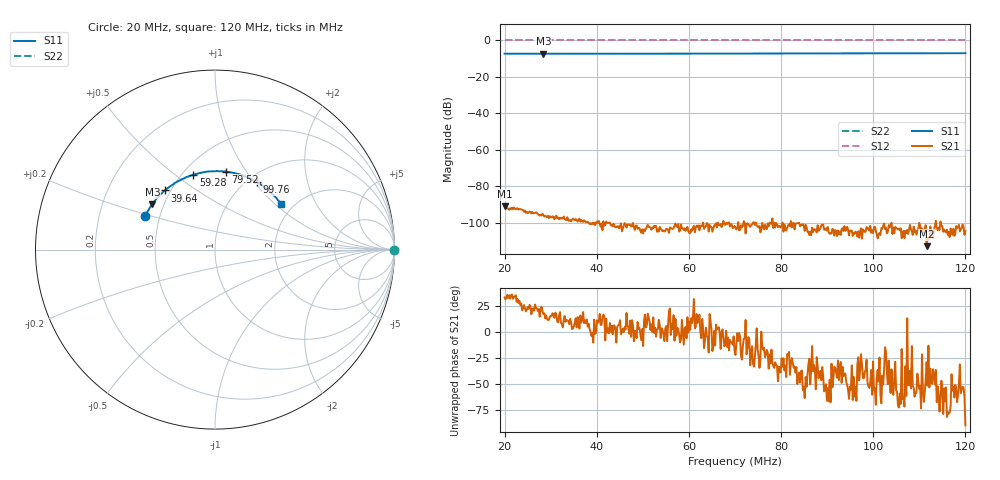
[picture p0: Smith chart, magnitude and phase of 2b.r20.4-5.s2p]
! Anritsu VNA Master:  Model: MS2036C/10/77
! SN:  1601066
! /card0/usr/18may27.balun/252b.r2..3.s2p
! Existing Calibration Information:
! TYPE:  Current Settings,  Active Cal Settings
! TIME:  05/27/2018 01:01:02 PM,  05/27/2018 12:49:51 PM
! INTERNAL TEMP:  52.3 C,  52.5 C
! # POINTS:  500,  500
! START FREQ:  20.000 MHz,  20.000 MHz
! STOP FREQ:  120.000 MHz,  120.000 MHz
! SOURCE POWER:  High,  High
! IFBW:  50 Hz,  50 Hz
! AVG FACTOR:  1 ,  1
! REF PLANE 1:  0 mm,  0 mm
! REF PLANE 2:  0 mm,  0 mm
! CAL TYPE:  Full S11,  Full S11
! CAL METHOD:  SOLT,  SOLT
! CAL LINE TYPE:  Coax,  Coax
! DUT PORT 1:  K-Conn(M),  K-Conn(M)
! DUT PORT 2:  K-Conn(M),  K-Conn(M)
! CAL STATUS:  OK: Accuracy High,  --
# GHZ S DB R 50.0
! FREQ.GHZ  S11DB  S11A  S21DB  S21A  S12DB  S12A  S22DB  S22A
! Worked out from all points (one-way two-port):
!   500 points, 20 MHz to 120 MHz, reference 50 ohm
!   highest |S21| = -91.05 dB at 20 MHz (marker M1); lowest = -113.0 dB at 111.6 MHz (marker M2)
!   lowest |S11| = -7.3 dB at 28.42 MHz (marker M3), VSWR 2.51, Z = 21.6 + j13.4 ohm
!   |S11| at or under -10 dB: nowhere
!   |S22| runs from 0.0 to 0.0 dB; largest |S21 - S12| = 1
!   S11 on the Smith chart (normalised r, x): 20 MHz: 0.41, +0.19; 39.64 MHz: 0.47, +0.38; 59.28 MHz: 0.57, +0.58; 79.52 MHz: 0.75, +0.81; 99.76 MHz: 1.10, +1.03; 120 MHz: 1.72, +1.10
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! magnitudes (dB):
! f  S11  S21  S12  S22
! 20 MHz  -7.3  -91.1  0.0  0.0
! 26.81 MHz  -7.3  -94.4  0.0  0.0
! 28.42 MHz  -7.3  -95.7  0.0  0.0
! 32.63 MHz  -7.3  -97.8  0.0  0.0
! 34.43 MHz  -7.3  -99.3  0.0  0.0
! 35.63 MHz  -7.3  -98.6  0.0  0.0
! 36.83 MHz  -7.3  -99.4  0.0  0.0
! 38.24 MHz  -7.3  -100.2  0.0  0.0
! 39.64 MHz  -7.3  -101.4  0.0  0.0
! 41.04 MHz  -7.3  -100.6  0.0  0.0
! 45.25 MHz  -7.3  -100.4  0.0  0.0
! 46.65 MHz  -7.3  -101.1  0.0  0.0
! 50.46 MHz  -7.3  -104.6  0.0  0.0
! 53.47 MHz  -7.3  -104.9  0.0  0.0
! 59.28 MHz  -7.2  -104.5  0.0  0.0
! 70.1 MHz  -7.2  -103.0  0.0  0.0
! 79.52 MHz  -7.2  -101.8  0.0  0.0
! 86.73 MHz  -7.1  -102.7  0.0  0.0
! 99.76 MHz  -7.1  -104.3  0.0  0.0
! 103.4 MHz  -7.0  -101.4  0.0  0.0
! 111.6 MHz  -7.0  -113.0  0.0  0.0
! 120 MHz  -7.0  -104.7  0.0  0.0
